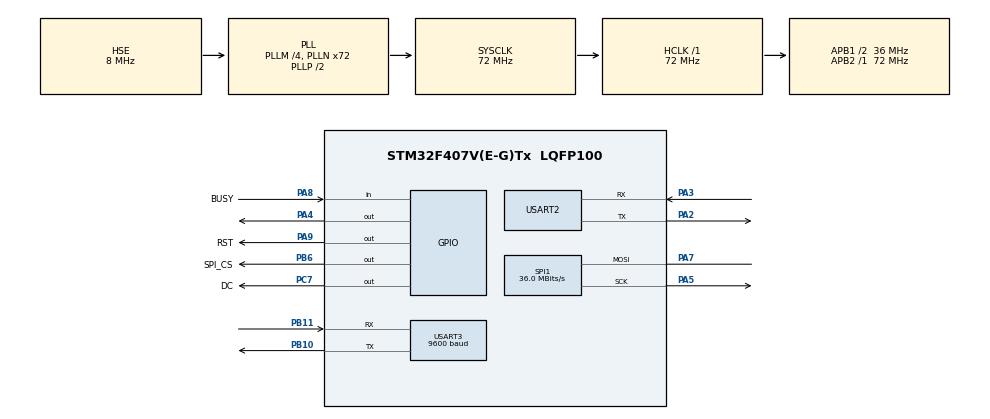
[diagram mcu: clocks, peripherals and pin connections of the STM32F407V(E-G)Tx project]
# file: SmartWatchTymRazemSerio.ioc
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Mcu.Family=STM32F4
Mcu.Name=STM32F407V(E-G)Tx
Mcu.Package=LQFP100
NVIC.PriorityGroup=NVIC_PRIORITYGROUP_4
NVIC.USART3_IRQn=true\:0\:0\:false\:false\:true\:true\:true
PA13.Mode=Serial_Wire
PA13.Signal=SYS_JTMS-SWDIO
PA14.Mode=Serial_Wire
PA14.Signal=SYS_JTCK-SWCLK
PA2.Mode=Asynchronous
PA2.Signal=USART2_TX
PA3.Mode=Asynchronous
PA3.Signal=USART2_RX
PA4.Signal=GPIO_Output
PA5.Mode=Simplex_Bidirectional_Master
PA5.Signal=SPI1_SCK
PA7.Mode=Simplex_Bidirectional_Master
PA7.Signal=SPI1_MOSI
PA8.GPIO_Label=BUSY
PA8.Signal=GPIO_Input
PA9.GPIO_Label=RST
PA9.Signal=GPIO_Output
PB10.Mode=Asynchronous
PB10.Signal=USART3_TX
PB11.Mode=Asynchronous
PB11.Signal=USART3_RX
PB6.GPIO_Label=SPI_CS
PB6.Signal=GPIO_Output
PC7.GPIO_Label=DC
PC7.Signal=GPIO_Output
PH0-OSC_IN.Mode=HSE-External-Oscillator
PH0-OSC_IN.Signal=RCC_OSC_IN
PH1-OSC_OUT.Mode=HSE-External-Oscillator
PH1-OSC_OUT.Signal=RCC_OSC_OUT
ProjectManager.HeapSize=0x3000
ProjectManager.StackSize=0x1000
ProjectManager.TargetToolchain=SW4STM32
RCC.48MHZClocksFreq_Value=36000000
RCC.AHBFreq_Value=72000000
RCC.APB1CLKDivider=RCC_HCLK_DIV2
RCC.APB1Freq_Value=36000000
RCC.APB1TimFreq_Value=72000000
RCC.APB2Freq_Value=72000000
RCC.APB2TimFreq_Value=72000000
RCC.CortexFreq_Value=72000000
RCC.HCLKFreq_Value=72000000
RCC.HSE_VALUE=8000000
RCC.HSI_VALUE=16000000
RCC.LSE_VALUE=32768
RCC.PLLM=4
RCC.PLLN=72
RCC.PLLSourceVirtual=RCC_PLLSOURCE_HSE
RCC.SYSCLKFreq_VALUE=72000000
RCC.SYSCLKSource=RCC_SYSCLKSOURCE_PLLCLK
RCC.VCOOutputFreq_Value=144000000
SPI1.CalculateBaudRate=36.0 MBits/s
SPI1.Direction=SPI_DIRECTION_1LINE
SPI1.Mode=SPI_MODE_MASTER
SPI1.VirtualType=VM_MASTER
USART2.VirtualMode=VM_ASYNC
USART3.BaudRate=9600
USART3.VirtualMode=VM_ASYNC
board=custom

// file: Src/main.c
/* USER CODE BEGIN Header */
/**
  ******************************************************************************
  * @file           : main.c
  * @brief          : Main program body
  ******************************************************************************
  * @attention
  *
  * <h2><center>&copy; Copyright (c) 2019 STMicroelectronics.
  * All rights reserved.</center></h2>
  *
  * This software component is licensed by ST under BSD 3-Clause license,
  * the "License"; You may not use this file except in compliance with the
  * License. You may obtain a copy of the License at:
  *                        opensource.org/licenses/BSD-3-Clause
  *
  ******************************************************************************
  */
/* USER CODE END Header */

#include "main.h"

/* USER CODE BEGIN Includes */
#include "stm32f4xx_hal.h"
#include "epd1in54.h"
#include "epdif.h"
#include "epdpaint.h"
#include "imagedata.h"
#include <stdlib.h>
/* USER CODE END Includes */

SPI_HandleTypeDef hspi1;

UART_HandleTypeDef huart2;
UART_HandleTypeDef huart3;

/* USER CODE BEGIN PV */
unsigned char* frame_buffer;
#define COLORED      0
#define UNCOLORED    1
Paint paint;
EPD epd;
UART_HandleTypeDef huart2;
UART_HandleTypeDef huart3;
uint8_t sendUART[2] = {65, 'F'};
uint8_t sendUART2[2] = {'X', 'X'};
uint16_t sizeSendUART = 2;
uint8_t receiveUART[20];
uint8_t xd;
uint16_t sizeReceiveUART = 20;
int cnt;
uint8_t time_string[] = {'1', '3', ':', '5', '6', '\0'};
char top_line[] = {'N', 'i', 'e', '_', 'm', 'a', '_','S','M','S', '\0'};
char kto[] = {'P', 'T', 'M', '_', 'p', 'o','l','i','c','e', '_', '_','\0'};
char bottom_line[] = {'_', '_', '_', '_', '_', '_', '_','_','_', '\0'};
int conn = 0;
int licznik = 0;
uint8_t flag;
/* USER CODE END PV */

void SystemClock_Config(void);
static void MX_GPIO_Init(void);
static void MX_SPI1_Init(void);
static void MX_USART2_UART_Init(void);
static void MX_USART3_UART_Init(void);
/* USER CODE BEGIN PFP */

void HAL_UART_RxCpltCallback(UART_HandleTypeDef *huart) {
   if(huart->Instance == USART3){

	   flag = receiveUART[0];
	   if(flag == '0'){
		   conn = 1;
	   }else if (flag == '1'){
		   top_line[0] = receiveUART[1];
		   top_line[1] = receiveUART[2];
		   top_line[2] = receiveUART[3];
		   top_line[3] = receiveUART[4];
		   top_line[4] = receiveUART[5];
		   top_line[5] = receiveUART[6];
		   top_line[6] = receiveUART[7];
		   top_line[7] = receiveUART[8];
		   top_line[8] = receiveUART[9];
		   top_line[9] = receiveUART[10];
		   bottom_line[0] = receiveUART[11];
		   bottom_line[1] = receiveUART[12];
		   bottom_line[2] = receiveUART[13];
		   bottom_line[3] = receiveUART[14];
		   bottom_line[4] = receiveUART[15];
		   bottom_line[5] = receiveUART[16];
		   bottom_line[6] = receiveUART[17];
		   bottom_line[7] = receiveUART[18];
		   bottom_line[8] = receiveUART[19];
	   }else if(flag == '2'){
		   time_string[0] = receiveUART[1];
		   time_string[1] = receiveUART[2];
		   time_string[3] = receiveUART[4];
		   time_string[4] = receiveUART[5];
	   }else if(flag == '3'){
		   kto[0] = receiveUART[1];
		   kto[1] = receiveUART[2];
		   kto[2] = receiveUART[3];
		   kto[3] = receiveUART[4];
		   kto[4] = receiveUART[5];
		   kto[5] = receiveUART[6];
		   kto[6] = receiveUART[7];
		   kto[7] = receiveUART[8];
		   kto[8] = receiveUART[9];
		   kto[9] = receiveUART[10];
		   kto[10] = receiveUART[11];
		   kto[11] = receiveUART[12];

	   }

	HAL_UART_Receive_IT(&huart3, receiveUART, sizeReceiveUART);
   }

}

/* USER CODE END PFP */

int main(void)
{
  /* USER CODE BEGIN 1 */

	unsigned char* frame_buffer = (unsigned char*)malloc(EPD_WIDTH * EPD_HEIGHT / 8);

  /* USER CODE END 1 */

  /* MCU Configuration--------------------------------------------------------*/

  /* Reset of all peripherals, Initializes the Flash interface and the Systick. */
  HAL_Init();

  /* Configure the system clock */
  SystemClock_Config();

  /* Initialize all configured peripherals */

  MX_GPIO_Init();
  MX_SPI1_Init();
  MX_USART2_UART_Init();
  MX_USART3_UART_Init();

  /* USER CODE BEGIN 2 */

  HAL_UART_Receive_IT(&huart3, receiveUART, sizeReceiveUART);

   if (EPD_Init(&epd, lut_full_update) != 0) {
     printf("e-Paper init failed\n");
     return -1;
   }

   Paint_Init(&paint, frame_buffer, epd.width, epd.height);

   Paint_Clear(&paint, UNCOLORED);
   EPD_DelayMs(&epd, 1000);
    /* For simplicity, the arguments are explicit numerical coordinates */
    /* Write strings to the buffer */

   Paint_DrawStringAt(&paint, 30, 25, "Oczekiwanie", &Font16, COLORED);
   Paint_DrawStringAt(&paint, 80, 50, "...", &Font16, COLORED);

 //   Paint_DrawRectangle(&paint, 10, 10, 190, 50, COLORED);
 //   Paint_DrawRectangle(&paint, 10, 60, 190, 150, COLORED);
 //   Paint_DrawFilledRectangle(&paint, 0, 10, 200, 50, COLORED);

 //   Paint_DrawStringAt(&paint, 80, 25, "SMS", &Font16, COLORED);
 //   Paint_DrawStringAt(&paint, 20, 80, "Jakas losowa wiadomosc", &Font12, COLORED);

    /* Draw something to the frame buffer */

 //   Paint_DrawLine(&paint, 10, 60, 50, 110, COLORED);
 //   Paint_DrawLine(&paint, 50, 60, 10, 110, COLORED);
 //   Paint_DrawCircle(&paint, 120, 80, 30, COLORED);
 //   Paint_DrawFilledRectangle(&paint, 10, 130, 50, 180, COLORED);
 //   Paint_DrawFilledCircle(&paint, 120, 150, 30, COLORED);

    /* Display the frame_buffer */

       /* For simplicity, the arguments are explicit numerical coordinates */
 //      /* Write strings to the buffer */
 //      Paint_DrawRectangle(&paint, 10, 10, 190, 50, COLORED);
 //      Paint_DrawRectangle(&paint, 10, 60, 190, 150, COLORED);
 //   //   Paint_DrawFilledRectangle(&paint, 0, 10, 200, 50, COLORED);
 //      Paint_DrawStringAt(&paint, 80, 25, "SMS", &Font16, COLORED);
 //      Paint_DrawStringAt(&paint, 20, 80, "Druga losowa wiadomosc", &Font12, COLORED);

       /* Draw something to the frame buffer */

    //   Paint_DrawLine(&paint, 10, 60, 50, 110, COLORED);
    //   Paint_DrawLine(&paint, 50, 60, 10, 110, COLORED);
    //   Paint_DrawCircle(&paint, 120, 80, 30, COLORED);
    //   Paint_DrawFilledRectangle(&paint, 10, 130, 50, 180, COLORED);
    //   Paint_DrawFilledCircle(&paint, 120, 150, 30, COLORED);

       /* Display the frame_buffer */
       EPD_SetFrameMemory(&epd, frame_buffer, 0, 0, Paint_GetWidth(&paint), Paint_GetHeight(&paint));
       EPD_DisplayFrame(&epd);
       EPD_DelayMs(&epd, 2);

    if (EPD_Init(&epd, lut_partial_update) != 0) {
      printf("e-Paper init failed\n");
      return -1;
    }
    /**
      *  there are 2 memory areas embedded in the e-paper display
      *  and once the display is refreshed, the memory area will be auto-toggled,
      *  i.e. the next action of SetFrameMemory will set the other memory area
      *  therefore you have to set the frame memory and refresh the display twice.
      */
 //   EPD_SetFrameMemory(&epd, IMAGE_DATA, 0, 0, epd.width, epd.height);
 //   EPD_DisplayFrame(&epd);
 //   EPD_SetFrameMemory(&epd, IMAGE_DATA, 0, 0, epd.width, epd.height);
 //   EPD_DisplayFrame(&epd);
 //////
 //   time_start_ms = HAL_GetTick();

   /* USER CODE END 2 */

   /* Infinite loop */
   while (1)
   {

     /* USER CODE BEGIN 3 */

 	  if(conn == 0){
 	  Paint_Clear(&paint, UNCOLORED);
 	  EPD_DelayMs(&epd, 200);
 	  Paint_DrawStringAt(&paint, 30, 25, "Oczekiwanie", &Font16, COLORED);
 	  Paint_DrawStringAt(&paint, 80, 50, ".", &Font16, COLORED);

       EPD_SetFrameMemory(&epd, frame_buffer, 0, 0, Paint_GetWidth(&paint), Paint_GetHeight(&paint));
       EPD_DisplayFrame(&epd);
       EPD_DelayMs(&epd, 2);

 	  Paint_Clear(&paint, UNCOLORED);
 	  EPD_DelayMs(&epd, 200);
 	  Paint_DrawStringAt(&paint, 30, 25, "Oczekiwanie", &Font16, COLORED);
 	  Paint_DrawStringAt(&paint, 80, 50, "..", &Font16, COLORED);

       EPD_SetFrameMemory(&epd, frame_buffer, 0, 0, Paint_GetWidth(&paint), Paint_GetHeight(&paint));
       EPD_DisplayFrame(&epd);
       EPD_DelayMs(&epd, 2);

 	  Paint_Clear(&paint, UNCOLORED);
 	  EPD_DelayMs(&epd, 200);
 	  Paint_DrawStringAt(&paint, 30, 25, "Oczekiwanie", &Font16, COLORED);
 	  Paint_DrawStringAt(&paint, 80, 50, "...", &Font16, COLORED);

       EPD_SetFrameMemory(&epd, frame_buffer, 0, 0, Paint_GetWidth(&paint), Paint_GetHeight(&paint));
       EPD_DisplayFrame(&epd);
       EPD_DelayMs(&epd, 2);
 	  }
 	  else{
 		 Paint_Clear(&paint, UNCOLORED);
 		 EPD_DelayMs(&epd, 2);
 		 Paint_DrawRectangle(&paint, 10, 30, 190, 70, COLORED);
 		 Paint_DrawRectangle(&paint, 10, 80, 190, 170, COLORED);
 		Paint_DrawStringAt(&paint, 30, 43, kto, &Font16, COLORED);
 	   	Paint_DrawStringAt(&paint, 20, 100, top_line, &Font24, COLORED);
 	   	Paint_DrawStringAt(&paint, 20, 140, bottom_line, &Font24, COLORED);
 	   	Paint_DrawStringAt(&paint, 110, 5, time_string, &Font24, COLORED);

 	   EPD_SetFrameMemory(&epd, frame_buffer, 0, 0, Paint_GetWidth(&paint), Paint_GetHeight(&paint));
 	   EPD_DisplayFrame(&epd);

 	  }
 	  	  HAL_UART_Receive_IT(&huart3, receiveUART, sizeReceiveUART);
   }
   /* USER CODE END 3 */
}

void SystemClock_Config(void)
{
  RCC_OscInitTypeDef RCC_OscInitStruct = {0};
  RCC_ClkInitTypeDef RCC_ClkInitStruct = {0};

  /** Configure the main internal regulator output voltage
  */
  __HAL_RCC_PWR_CLK_ENABLE();
  __HAL_PWR_VOLTAGESCALING_CONFIG(PWR_REGULATOR_VOLTAGE_SCALE1);
  /** Initializes the CPU, AHB and APB busses clocks
  */
  RCC_OscInitStruct.OscillatorType = RCC_OSCILLATORTYPE_HSE;
  RCC_OscInitStruct.HSEState = RCC_HSE_ON;
  RCC_OscInitStruct.PLL.PLLState = RCC_PLL_ON;
  RCC_OscInitStruct.PLL.PLLSource = RCC_PLLSOURCE_HSE;
  RCC_OscInitStruct.PLL.PLLM = 4;
  RCC_OscInitStruct.PLL.PLLN = 72;
  RCC_OscInitStruct.PLL.PLLP = RCC_PLLP_DIV2;
  RCC_OscInitStruct.PLL.PLLQ = 4;
  if (HAL_RCC_OscConfig(&RCC_OscInitStruct) != HAL_OK)
  {
    Error_Handler();
  }
  /** Initializes the CPU, AHB and APB busses clocks
  */
  RCC_ClkInitStruct.ClockType = RCC_CLOCKTYPE_HCLK|RCC_CLOCKTYPE_SYSCLK
                              |RCC_CLOCKTYPE_PCLK1|RCC_CLOCKTYPE_PCLK2;
  RCC_ClkInitStruct.SYSCLKSource = RCC_SYSCLKSOURCE_PLLCLK;
  RCC_ClkInitStruct.AHBCLKDivider = RCC_SYSCLK_DIV1;
  RCC_ClkInitStruct.APB1CLKDivider = RCC_HCLK_DIV2;
  RCC_ClkInitStruct.APB2CLKDivider = RCC_HCLK_DIV1;

  if (HAL_RCC_ClockConfig(&RCC_ClkInitStruct, FLASH_LATENCY_2) != HAL_OK)
  {
    Error_Handler();
  }
}

static void MX_SPI1_Init(void)
{

  /* SPI1 parameter configuration*/
  hspi1.Instance = SPI1;
  hspi1.Init.Mode = SPI_MODE_MASTER;
  hspi1.Init.Direction = SPI_DIRECTION_1LINE;
  hspi1.Init.DataSize = SPI_DATASIZE_8BIT;
  hspi1.Init.CLKPolarity = SPI_POLARITY_LOW;
  hspi1.Init.CLKPhase = SPI_PHASE_1EDGE;
  hspi1.Init.NSS = SPI_NSS_SOFT;
  hspi1.Init.BaudRatePrescaler = SPI_BAUDRATEPRESCALER_2;
  hspi1.Init.FirstBit = SPI_FIRSTBIT_MSB;
  hspi1.Init.TIMode = SPI_TIMODE_DISABLE;
  hspi1.Init.CRCCalculation = SPI_CRCCALCULATION_DISABLE;
  hspi1.Init.CRCPolynomial = 10;
  if (HAL_SPI_Init(&hspi1) != HAL_OK)
  {
    Error_Handler();
  }

}

static void MX_USART2_UART_Init(void)
{

  huart2.Instance = USART2;
  huart2.Init.BaudRate = 115200;
  huart2.Init.WordLength = UART_WORDLENGTH_8B;
  huart2.Init.StopBits = UART_STOPBITS_1;
  huart2.Init.Parity = UART_PARITY_NONE;
  huart2.Init.Mode = UART_MODE_TX_RX;
  huart2.Init.HwFlowCtl = UART_HWCONTROL_NONE;
  huart2.Init.OverSampling = UART_OVERSAMPLING_16;
  if (HAL_UART_Init(&huart2) != HAL_OK)
  {
    Error_Handler();
  }

}

static void MX_USART3_UART_Init(void)
{

  huart3.Instance = USART3;
  huart3.Init.BaudRate = 9600;
  huart3.Init.WordLength = UART_WORDLENGTH_8B;
  huart3.Init.StopBits = UART_STOPBITS_1;
  huart3.Init.Parity = UART_PARITY_NONE;
  huart3.Init.Mode = UART_MODE_TX_RX;
  huart3.Init.HwFlowCtl = UART_HWCONTROL_NONE;
  huart3.Init.OverSampling = UART_OVERSAMPLING_16;
  if (HAL_UART_Init(&huart3) != HAL_OK)
  {
    Error_Handler();
  }

}

static void MX_GPIO_Init(void)
{
  GPIO_InitTypeDef GPIO_InitStruct = {0};

  /* GPIO Ports Clock Enable */
  __HAL_RCC_GPIOH_CLK_ENABLE();
  __HAL_RCC_GPIOA_CLK_ENABLE();
  __HAL_RCC_GPIOB_CLK_ENABLE();
  __HAL_RCC_GPIOC_CLK_ENABLE();

  /*Configure GPIO pin Output Level */
  HAL_GPIO_WritePin(GPIOA, GPIO_PIN_4|RST_Pin, GPIO_PIN_RESET);

  /*Configure GPIO pin Output Level */
  HAL_GPIO_WritePin(DC_GPIO_Port, DC_Pin, GPIO_PIN_RESET);

  /*Configure GPIO pin Output Level */
  HAL_GPIO_WritePin(SPI_CS_GPIO_Port, SPI_CS_Pin, GPIO_PIN_RESET);

  /*Configure GPIO pins : PA4 RST_Pin */
  GPIO_InitStruct.Pin = GPIO_PIN_4|RST_Pin;
  GPIO_InitStruct.Mode = GPIO_MODE_OUTPUT_PP;
  GPIO_InitStruct.Pull = GPIO_NOPULL;
  GPIO_InitStruct.Speed = GPIO_SPEED_FREQ_LOW;
  HAL_GPIO_Init(GPIOA, &GPIO_InitStruct);

  /*Configure GPIO pin : DC_Pin */
  GPIO_InitStruct.Pin = DC_Pin;
  GPIO_InitStruct.Mode = GPIO_MODE_OUTPUT_PP;
  GPIO_InitStruct.Pull = GPIO_NOPULL;
  GPIO_InitStruct.Speed = GPIO_SPEED_FREQ_LOW;
  HAL_GPIO_Init(DC_GPIO_Port, &GPIO_InitStruct);

  /*Configure GPIO pin : BUSY_Pin */
  GPIO_InitStruct.Pin = BUSY_Pin;
  GPIO_InitStruct.Mode = GPIO_MODE_INPUT;
  GPIO_InitStruct.Pull = GPIO_NOPULL;
  HAL_GPIO_Init(BUSY_GPIO_Port, &GPIO_InitStruct);

  /*Configure GPIO pin : SPI_CS_Pin */
  GPIO_InitStruct.Pin = SPI_CS_Pin;
  GPIO_InitStruct.Mode = GPIO_MODE_OUTPUT_PP;
  GPIO_InitStruct.Pull = GPIO_NOPULL;
  GPIO_InitStruct.Speed = GPIO_SPEED_FREQ_LOW;
  HAL_GPIO_Init(SPI_CS_GPIO_Port, &GPIO_InitStruct);

}

/* USER CODE BEGIN 4 */
#ifdef __GNUC__
  /* With GCC/RAISONANCE, small printf (option LD Linker->Libraries->Small printf
     set to 'Yes') calls __io_putchar() */
  #define PUTCHAR_PROTOTYPE int __io_putchar(int ch)
#else
  #define PUTCHAR_PROTOTYPE int fputc(int ch, FILE *f)
#endif /* __GNUC__ */
/**
  * @brief  Retargets the C library printf function to the USART.
  * @param  None
  * @retval None
  */
PUTCHAR_PROTOTYPE
{
  /* Place your implementation of fputc here */
  /* e.g. write a character to the EVAL_COM1 and Loop until the end of transmission */
  HAL_UART_Transmit(&huart2, (uint8_t *)&ch, 1, 0xFFFF);

  return ch;
}
/* USER CODE END 4 */

void Error_Handler(void)
{
}

/************************ (C) COPYRIGHT STMicroelectronics *****END OF FILE****/
